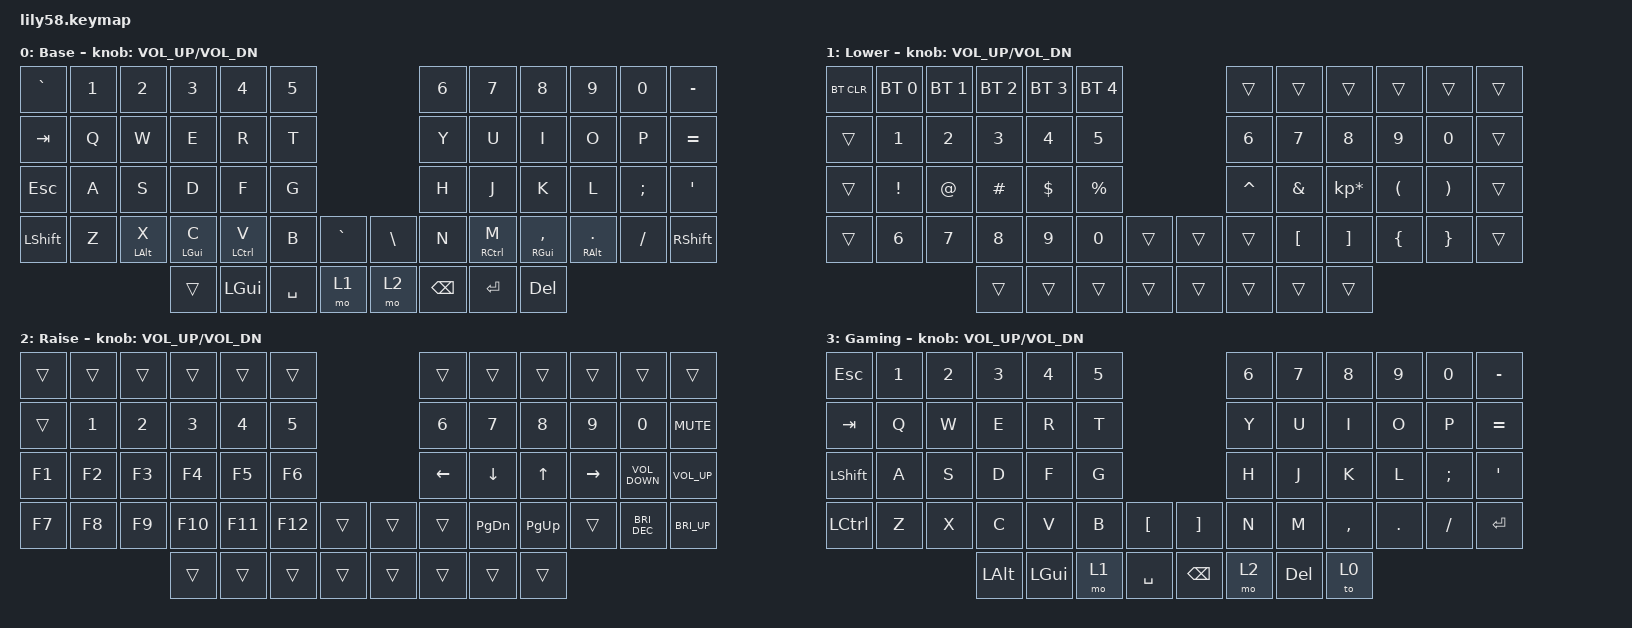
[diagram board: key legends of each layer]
/*
 * Copyright (c) 2020 The ZMK Contributors
 *
 * SPDX-License-Identifier: MIT
 */

#include <behaviors.dtsi>
#include <dt-bindings/zmk/bt.h>
#include <dt-bindings/zmk/keys.h>

/ {
    behaviors {
        hmr: hmr {
            compatible = "zmk,behavior-hold-tap";
            label = "HMR";
            bindings = <&kp>, <&kp>;

            #binding-cells = <2>;
            tapping-term-ms = <300>;
            quick-tap-ms = <200>;
            flavor = "balanced";
            hold-trigger-on-release;
            hold-trigger-key-positions = <31 32 33 34>;
        };

        hml: hml {
            compatible = "zmk,behavior-hold-tap";
            label = "HML";
            bindings = <&kp>, <&kp>;

            #binding-cells = <2>;
            tapping-term-ms = <300>;
            quick-tap-ms = <200>;
            flavor = "balanced";
            hold-trigger-key-positions = <28 27 26 25>;
            hold-trigger-on-release;
        };
    };

    combos {
        compatible = "zmk,combos";

        Gaming-Layer {
            bindings = <&to 3>;
            key-positions = <0 11>;
            layers = <0>;
        };
    };

    keymap {
        compatible = "zmk,keymap";

        default_layer {
            // ------------------------------------------------------------------------------------------------------------
            // |  ESC  |  1  |  2  |  3   |  4   |  5   |                   |  6   |  7    |  8    |  9   |   0   |   `   |
            // |  TAB  |  Q  |  W  |  E   |  R   |  T   |                   |  Y   |  U    |  I    |  O   |   P   |   -   |
            // |  CTRL |  A  |  S  |  D   |  F   |  G   |                   |  H   |  J    |  K    |  L   |   ;   |   '   |
            // | SHIFT |  Z  |  X  |  C   |  V   |  B   |   "["  |  |  "]"  |  N   |  M    |  ,    |  .   |   /   | SHIFT |
            //                     | ALT  | GUI  | LOWER|  SPACE |  | ENTER | RAISE| BSPC  | GUI   |

            display-name = "Base";
            bindings = <
&kp GRAVE   &kp N1  &kp N2           &kp N3           &kp N4        &kp N5                                 &kp N6         &kp N7        &kp N8                &kp N9              &kp N0         &kp MINUS
&kp TAB     &kp Q   &kp W            &kp E            &kp R         &kp T                                  &kp Y          &kp U         &kp I                 &kp O               &kp P          &kp EQUAL
&kp ESCAPE  &kp A   &kp S            &kp D            &kp F         &kp G                                  &kp H          &kp J         &kp K                 &kp L               &kp SEMICOLON  &kp SQT
&kp LSHFT   &kp Z   &hml LEFT_ALT X  &hml LEFT_GUI C  &hml LCTRL V  &kp B      &kp GRAVE    &kp BACKSLASH  &kp N          &hmr RCTRL M  &hmr RIGHT_GUI COMMA  &hmr RIGHT_ALT DOT  &kp FSLH       &kp RIGHT_SHIFT
                                     &trans           &kp LGUI      &kp SPACE  &mo 1        &mo 2          &kp BACKSPACE  &kp ENTER     &kp DELETE
            >;

            sensor-bindings = <&inc_dec_kp C_VOL_UP C_VOL_DN>;
        };

        lower_layer {
            // ------------------------------------------------------------------------------------------------------------
            // | BTCLR | BT1 | BT2 |  BT3 |  BT4 |  BT5 |                   |      |       |       |      |       |       |
            // |  F1   |  F2 |  F3 |  F4  |  F5  |  F6  |                   |  F7  |  F8   |  F9   |  F10 |  F11  |  F12  |
            // |   `   |  !  |  @  |  #   |  $   |  %   |                   |  ^   |  &    |  *    |  (   |   )   |   ~   |
            // |       |     |     |      |      |      |        |  |       |      |  _    |  +    |  {   |   }   |  "|"  |
            //                     |      |      |      |        |  |       |      |       |       |

            display-name = "Lower";
            bindings = <
&bt BT_CLR  &bt BT_SEL 0  &bt BT_SEL 1  &bt BT_SEL 2  &bt BT_SEL 3  &bt BT_SEL 4                    &trans     &trans            &trans             &trans    &trans    &trans
&trans      &kp N1        &kp N2        &kp N3        &kp N4        &kp N5                          &kp N6     &kp N7            &kp N8             &kp N9    &kp N0    &trans
&trans      &kp EXCL      &kp AT        &kp HASH      &kp DOLLAR    &kp PRCNT                       &kp CARET  &kp AMPS          &kp KP_MULTIPLY    &kp LPAR  &kp RPAR  &trans
&trans      &kp N6        &kp N7        &kp N8        &kp N9        &kp N0        &trans    &trans  &trans     &kp LEFT_BRACKET  &kp RIGHT_BRACKET  &kp LBRC  &kp RBRC  &trans
                                        &trans        &trans        &trans        &trans    &trans  &trans     &trans            &trans
            >;

            sensor-bindings = <&inc_dec_kp C_VOL_UP C_VOL_DN>;
        };

        raise_layer {
            // ------------------------------------------------------------------------------------------------------------
            // |       |     |     |      |      |      |                   |      |       |       |      |       |       |
            // |   `   |  1  |  2  |  3   |  4   |  5   |                   |  6   |   7   |   8   |  9   |   0   |       |
            // |   F1  |  F2 |  F3 |  F4  |  F5  |  F6  |                   |      |   <-  |   v   |  ^   |  ->   |       |
            // |   F7  |  F8 |  F9 |  F10 |  F11 |  F12 |        |  |       |  +   |   -   |   =   |  [   |   ]   |   \   |
            //                     |      |      |      |        |  |       |      |       |       |

            display-name = "Raise";
            bindings = <
&trans  &trans  &trans  &trans   &trans   &trans                     &trans    &trans         &trans       &trans     &trans             &trans
&trans  &kp N1  &kp N2  &kp N3   &kp N4   &kp N5                     &kp N6    &kp N7         &kp N8       &kp N9     &kp N0             &kp K_MUTE
&kp F1  &kp F2  &kp F3  &kp F4   &kp F5   &kp F6                     &kp LEFT  &kp DOWN       &kp UP       &kp RIGHT  &kp C_VOLUME_DOWN  &kp C_VOLUME_UP
&kp F7  &kp F8  &kp F9  &kp F10  &kp F11  &kp F12  &trans    &trans  &trans    &kp PAGE_DOWN  &kp PAGE_UP  &trans     &kp C_BRI_DEC      &kp C_BRI_UP
                        &trans   &trans   &trans   &trans    &trans  &trans    &trans         &trans
            >;

            sensor-bindings = <&inc_dec_kp C_VOL_UP C_VOL_DN>;
        };

        gaming {
            display-name = "Gaming";
            bindings = <
&kp ESCAPE      &kp N1  &kp N2  &kp N3    &kp N4    &kp N5                              &kp N6  &kp N7      &kp N8     &kp N9   &kp N0         &kp MINUS
&kp TAB         &kp Q   &kp W   &kp E     &kp R     &kp T                               &kp Y   &kp U       &kp I      &kp O    &kp P          &kp EQUAL
&kp LEFT_SHIFT  &kp A   &kp S   &kp D     &kp F     &kp G                               &kp H   &kp J       &kp K      &kp L    &kp SEMICOLON  &kp SQT
&kp LCTRL       &kp Z   &kp X   &kp C     &kp V     &kp B   &kp LBKT     &kp RBKT       &kp N   &kp M       &kp COMMA  &kp DOT  &kp FSLH       &kp ENTER
                                &kp LALT  &kp LGUI  &mo 1   &kp SPACE    &kp BACKSPACE  &mo 2   &kp DELETE  &to 0
            >;

            sensor-bindings = <&inc_dec_kp C_VOL_UP C_VOL_DN>;
        };
    };
};
